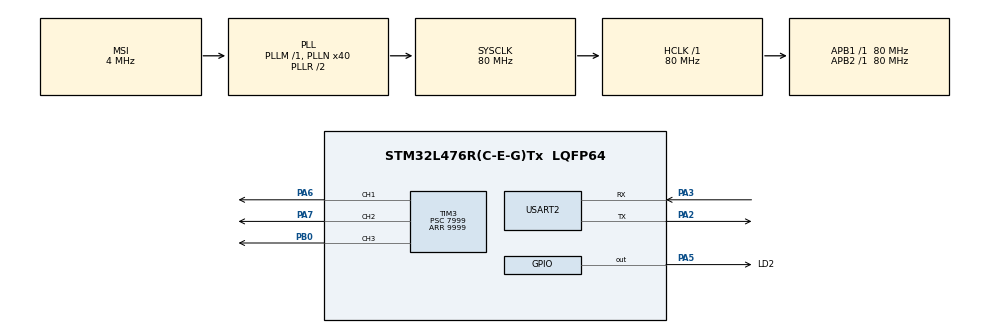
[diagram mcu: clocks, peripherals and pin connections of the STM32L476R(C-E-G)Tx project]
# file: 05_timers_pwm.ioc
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Mcu.Family=STM32L4
Mcu.Name=STM32L476R(C-E-G)Tx
Mcu.Package=LQFP64
NVIC.PriorityGroup=NVIC_PRIORITYGROUP_4
NVIC.TIM3_IRQn=true\:10\:0\:true\:false\:true\:true\:true\:true
PA13\ (JTMS-SWDIO).Mode=Serial_Wire
PA13\ (JTMS-SWDIO).Signal=SYS_JTMS-SWDIO
PA14\ (JTCK-SWCLK).Mode=Serial_Wire
PA14\ (JTCK-SWCLK).Signal=SYS_JTCK-SWCLK
PA2.Mode=Asynchronous
PA2.Signal=USART2_TX
PA3.Mode=Asynchronous
PA3.Signal=USART2_RX
PA5.GPIO_Label=LD2
PA5.Signal=GPIO_Output
PA6.Signal=S_TIM3_CH1
PA7.Signal=S_TIM3_CH2
PB0.Signal=S_TIM3_CH3
ProjectManager.HeapSize=0x200
ProjectManager.StackSize=0x400
ProjectManager.TargetToolchain=STM32CubeIDE
RCC.AHBFreq_Value=80000000
RCC.APB1Freq_Value=80000000
RCC.APB1TimFreq_Value=80000000
RCC.APB2Freq_Value=80000000
RCC.APB2TimFreq_Value=80000000
RCC.CortexFreq_Value=80000000
RCC.HCLKFreq_Value=80000000
RCC.HSE_VALUE=8000000
RCC.HSI_VALUE=16000000
RCC.LSE_VALUE=32768
RCC.MSI_VALUE=4000000
RCC.PLLN=40
RCC.SYSCLKFreq_VALUE=80000000
RCC.SYSCLKSource=RCC_SYSCLKSOURCE_PLLCLK
RCC.VCOOutputFreq_Value=160000000
SH.S_TIM3_CH1.0=TIM3_CH1,PWM Generation1 CH1
SH.S_TIM3_CH2.0=TIM3_CH2,PWM Generation2 CH2
SH.S_TIM3_CH3.0=TIM3_CH3,PWM Generation3 CH3
TIM3.Channel-PWM\ Generation1\ CH1=TIM_CHANNEL_1
TIM3.Channel-PWM\ Generation2\ CH2=TIM_CHANNEL_2
TIM3.Channel-PWM\ Generation3\ CH3=TIM_CHANNEL_3
TIM3.OCPolarity_2=TIM_OCPOLARITY_LOW
TIM3.OCPolarity_3=TIM_OCPOLARITY_LOW
TIM3.Period=9999
TIM3.Prescaler=7999
TIM3.Pulse-PWM\ Generation2\ CH2=5000
TIM3.Pulse-PWM\ Generation3\ CH3=7500
USART2.VirtualMode-Asynchronous=VM_ASYNC
VP_TIM3_VS_ClockSourceINT.Mode=Internal
board=custom

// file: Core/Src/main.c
/* USER CODE BEGIN Header */
/**
  ******************************************************************************
  * @file           : main.c
  * @brief          : Main program body
  ******************************************************************************
  * @attention
  *
  * Copyright (c) 2026 STMicroelectronics.
  * All rights reserved.
  *
  * This software is licensed under terms that can be found in the LICENSE file
  * in the root directory of this software component.
  * If no LICENSE file comes with this software, it is provided AS-IS.
  *
  ******************************************************************************
  */
/* USER CODE END Header */
#include "main.h"

/* USER CODE BEGIN PTD */
typedef struct {
    float r;
    float g;
    float b;
} rgb_t;

/* USER CODE END PTD */

TIM_HandleTypeDef htim3;

UART_HandleTypeDef huart2;

void SystemClock_Config(void);
static void MX_GPIO_Init(void);
static void MX_USART2_UART_Init(void);
static void MX_TIM3_Init(void);

/* USER CODE BEGIN 0 */
void HAL_TIM_PeriodElapsedCallback(TIM_HandleTypeDef *htim){
	if(htim == &htim3){
		HAL_GPIO_TogglePin(LD2_GPIO_Port, LD2_Pin);

//		HAL_GPIO_WritePin(LED1_GPIO_Port, LED1_Pin, GPIO_PIN_SET);
//		HAL_GPIO_WritePin(LED2_GPIO_Port, LED2_Pin, GPIO_PIN_SET);
//		HAL_GPIO_WritePin(LED3_GPIO_Port, LED3_Pin, GPIO_PIN_SET);
	}
}

static rgb_t hsv_to_rgb(float h, float s, float v)
{
    rgb_t out;

    float c = v * s;
    float x = c * (1.0f - fabsf(fmodf(h / 60.0f, 2) - 1.0f));
    float m = v - c;

    float r=0, g=0, b=0;

    if (h < 60)      { r = c; g = x; b = 0; }
    else if (h < 120){ r = x; g = c; b = 0; }
    else if (h < 180){ r = 0; g = c; b = x; }
    else if (h < 240){ r = 0; g = x; b = c; }
    else if (h < 300){ r = x; g = 0; b = c; }
    else             { r = c; g = 0; b = x; }

    out.r = (r + m);
    out.g = (g + m);
    out.b = (b + m);

    return out;
}

//void HAL_TIM_OC_DelayElapsedCallback(TIM_HandleTypeDef *htim){
//	if(htim == &htim3){
//		switch(HAL_TIM_GetActiveChannel(&htim3)){
//		case HAL_TIM_ACTIVE_CHANNEL_1:
//			HAL_GPIO_WritePin(LED1_GPIO_Port, LED1_Pin, GPIO_PIN_RESET);
//			break;
//		case HAL_TIM_ACTIVE_CHANNEL_2:
//			HAL_GPIO_WritePin(LED2_GPIO_Port, LED2_Pin, GPIO_PIN_RESET);
//			break;
//		case HAL_TIM_ACTIVE_CHANNEL_3:
//			HAL_GPIO_WritePin(LED3_GPIO_Port, LED3_Pin, GPIO_PIN_RESET);
//			break;
//		default:
//			break;
//		}
//
//	}
//}

/* USER CODE END 0 */

int main(void)
{

  /* MCU Configuration--------------------------------------------------------*/

  /* Reset of all peripherals, Initializes the Flash interface and the Systick. */
  HAL_Init();

  /* Configure the system clock */
  SystemClock_Config();

  /* Initialize all configured peripherals */
  MX_GPIO_Init();
  MX_USART2_UART_Init();
  MX_TIM3_Init();
  /* USER CODE BEGIN 2 */
  HAL_TIM_Base_Start_IT(&htim3);

//  HAL_TIM_OC_Start_IT(&htim3, TIM_CHANNEL_1);
//  HAL_TIM_OC_Start_IT(&htim3, TIM_CHANNEL_2);
//  HAL_TIM_OC_Start_IT(&htim3, TIM_CHANNEL_3);
//
  HAL_TIM_PWM_Start(&htim3, TIM_CHANNEL_1);
  HAL_TIM_PWM_Start(&htim3, TIM_CHANNEL_2);
  HAL_TIM_PWM_Start(&htim3, TIM_CHANNEL_3);

  /* USER CODE END 2 */

  /* Infinite loop */
  /* USER CODE BEGIN WHILE */
  uint32_t counter = 0;
  while (1)
  {
	  float t = counter * 0.02f;

	  float r = (sinf(t) + 1.0f) * 0.5f;
	  float g = (sinf(t + 2.0f) + 1.0f) * 0.5f;
	  float b = (sinf(t + 4.0f) + 1.0f) * 0.5f;

	  __HAL_TIM_SET_COMPARE(&htim3, TIM_CHANNEL_1, r * 9999);
	  __HAL_TIM_SET_COMPARE(&htim3, TIM_CHANNEL_2, g * 9999);
	  __HAL_TIM_SET_COMPARE(&htim3, TIM_CHANNEL_3, b * 9999);

	  HAL_Delay(10);
	  counter++;

    /* USER CODE END WHILE */

  }
}

void SystemClock_Config(void)
{
  RCC_OscInitTypeDef RCC_OscInitStruct = {0};
  RCC_ClkInitTypeDef RCC_ClkInitStruct = {0};

  /** Configure the main internal regulator output voltage
  */
  if (HAL_PWREx_ControlVoltageScaling(PWR_REGULATOR_VOLTAGE_SCALE1) != HAL_OK)
  {
    Error_Handler();
  }

  /** Initializes the RCC Oscillators according to the specified parameters
  * in the RCC_OscInitTypeDef structure.
  */
  RCC_OscInitStruct.OscillatorType = RCC_OSCILLATORTYPE_MSI;
  RCC_OscInitStruct.MSIState = RCC_MSI_ON;
  RCC_OscInitStruct.MSICalibrationValue = 0;
  RCC_OscInitStruct.MSIClockRange = RCC_MSIRANGE_6;
  RCC_OscInitStruct.PLL.PLLState = RCC_PLL_ON;
  RCC_OscInitStruct.PLL.PLLSource = RCC_PLLSOURCE_MSI;
  RCC_OscInitStruct.PLL.PLLM = 1;
  RCC_OscInitStruct.PLL.PLLN = 40;
  RCC_OscInitStruct.PLL.PLLP = RCC_PLLP_DIV7;
  RCC_OscInitStruct.PLL.PLLQ = RCC_PLLQ_DIV2;
  RCC_OscInitStruct.PLL.PLLR = RCC_PLLR_DIV2;
  if (HAL_RCC_OscConfig(&RCC_OscInitStruct) != HAL_OK)
  {
    Error_Handler();
  }

  /** Initializes the CPU, AHB and APB buses clocks
  */
  RCC_ClkInitStruct.ClockType = RCC_CLOCKTYPE_HCLK|RCC_CLOCKTYPE_SYSCLK
                              |RCC_CLOCKTYPE_PCLK1|RCC_CLOCKTYPE_PCLK2;
  RCC_ClkInitStruct.SYSCLKSource = RCC_SYSCLKSOURCE_PLLCLK;
  RCC_ClkInitStruct.AHBCLKDivider = RCC_SYSCLK_DIV1;
  RCC_ClkInitStruct.APB1CLKDivider = RCC_HCLK_DIV1;
  RCC_ClkInitStruct.APB2CLKDivider = RCC_HCLK_DIV1;

  if (HAL_RCC_ClockConfig(&RCC_ClkInitStruct, FLASH_LATENCY_4) != HAL_OK)
  {
    Error_Handler();
  }
}

static void MX_TIM3_Init(void)
{

  TIM_ClockConfigTypeDef sClockSourceConfig = {0};
  TIM_MasterConfigTypeDef sMasterConfig = {0};
  TIM_OC_InitTypeDef sConfigOC = {0};

  htim3.Instance = TIM3;
  htim3.Init.Prescaler = 7999;
  htim3.Init.CounterMode = TIM_COUNTERMODE_UP;
  htim3.Init.Period = 9999;
  htim3.Init.ClockDivision = TIM_CLOCKDIVISION_DIV1;
  htim3.Init.AutoReloadPreload = TIM_AUTORELOAD_PRELOAD_DISABLE;
  if (HAL_TIM_Base_Init(&htim3) != HAL_OK)
  {
    Error_Handler();
  }
  sClockSourceConfig.ClockSource = TIM_CLOCKSOURCE_INTERNAL;
  if (HAL_TIM_ConfigClockSource(&htim3, &sClockSourceConfig) != HAL_OK)
  {
    Error_Handler();
  }
  if (HAL_TIM_PWM_Init(&htim3) != HAL_OK)
  {
    Error_Handler();
  }
  sMasterConfig.MasterOutputTrigger = TIM_TRGO_RESET;
  sMasterConfig.MasterSlaveMode = TIM_MASTERSLAVEMODE_DISABLE;
  if (HAL_TIMEx_MasterConfigSynchronization(&htim3, &sMasterConfig) != HAL_OK)
  {
    Error_Handler();
  }
  sConfigOC.OCMode = TIM_OCMODE_PWM1;
  sConfigOC.Pulse = 0;
  sConfigOC.OCPolarity = TIM_OCPOLARITY_HIGH;
  sConfigOC.OCFastMode = TIM_OCFAST_DISABLE;
  if (HAL_TIM_PWM_ConfigChannel(&htim3, &sConfigOC, TIM_CHANNEL_1) != HAL_OK)
  {
    Error_Handler();
  }
  sConfigOC.Pulse = 5000;
  sConfigOC.OCPolarity = TIM_OCPOLARITY_LOW;
  if (HAL_TIM_PWM_ConfigChannel(&htim3, &sConfigOC, TIM_CHANNEL_2) != HAL_OK)
  {
    Error_Handler();
  }
  sConfigOC.Pulse = 7500;
  if (HAL_TIM_PWM_ConfigChannel(&htim3, &sConfigOC, TIM_CHANNEL_3) != HAL_OK)
  {
    Error_Handler();
  }
  HAL_TIM_MspPostInit(&htim3);

}

static void MX_USART2_UART_Init(void)
{

  huart2.Instance = USART2;
  huart2.Init.BaudRate = 115200;
  huart2.Init.WordLength = UART_WORDLENGTH_8B;
  huart2.Init.StopBits = UART_STOPBITS_1;
  huart2.Init.Parity = UART_PARITY_NONE;
  huart2.Init.Mode = UART_MODE_TX_RX;
  huart2.Init.HwFlowCtl = UART_HWCONTROL_NONE;
  huart2.Init.OverSampling = UART_OVERSAMPLING_16;
  huart2.Init.OneBitSampling = UART_ONE_BIT_SAMPLE_DISABLE;
  huart2.AdvancedInit.AdvFeatureInit = UART_ADVFEATURE_NO_INIT;
  if (HAL_UART_Init(&huart2) != HAL_OK)
  {
    Error_Handler();
  }

}

static void MX_GPIO_Init(void)
{
  GPIO_InitTypeDef GPIO_InitStruct = {0};

  /* GPIO Ports Clock Enable */
  __HAL_RCC_GPIOA_CLK_ENABLE();
  __HAL_RCC_GPIOB_CLK_ENABLE();

  /*Configure GPIO pin Output Level */
  HAL_GPIO_WritePin(LD2_GPIO_Port, LD2_Pin, GPIO_PIN_RESET);

  /*Configure GPIO pin : LD2_Pin */
  GPIO_InitStruct.Pin = LD2_Pin;
  GPIO_InitStruct.Mode = GPIO_MODE_OUTPUT_PP;
  GPIO_InitStruct.Pull = GPIO_NOPULL;
  GPIO_InitStruct.Speed = GPIO_SPEED_FREQ_LOW;
  HAL_GPIO_Init(LD2_GPIO_Port, &GPIO_InitStruct);

}

void Error_Handler(void)
{
  __disable_irq();
  while (1)
  {
  }
}
